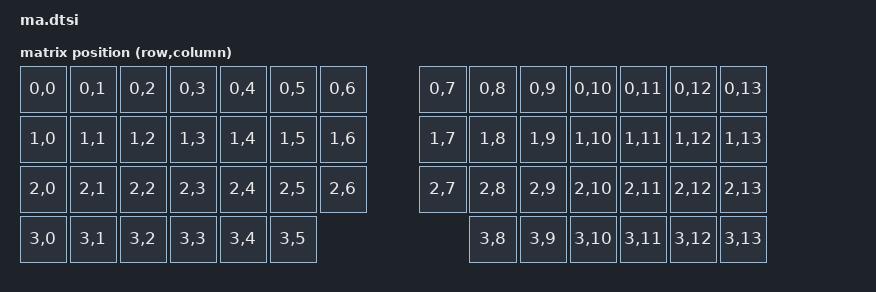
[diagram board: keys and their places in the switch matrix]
#include <dt-bindings/zmk/matrix_transform.h> // Put this with the other includes at the top of your dtsi
#include "ma_right.overlay"
#include "ma_left.overlay"
/ {
    default_transform: keymap_transform0 {
        compatible = "zmk,matrix-transform";
        columns = <14>;
        rows = <4>;
        map = <
        //  LKey 1 |LKey 2 |LKey 3 |LKey 4 |LKey 5 |LKey 6 |LKey 7              RKey 8 |RKey 9 |RKey 10 |RKey 11 |RKey 12 |RKey 13 |RKey 14
            RC(0,0) RC(0,1) RC(0,2) RC(0,3) RC(0,4) RC(0,5) RC(0,6)             RC(0,7) RC(0,8) RC(0,9) RC(0,10) RC(0,11) RC(0,12) RC(0,13)
        //  LKey 15 |LKey 16 |LKey 17 |LKey 18 |LKey 19 |LKey 20 |LKey 21       RKey 22 |RKey 23 |RKey 24 |RKey 25 |RKey 26 |RKey 27 |RKey 28
            RC(1,0) RC(1,1) RC(1,2) RC(1,3) RC(1,4) RC(1,5) RC(1,6)             RC(1,7) RC(1,8) RC(1,9) RC(1,10) RC(1,11) RC(1,12) RC(1,13)
        //  LKey 29 |LKey 30 |LKey 31 |LKey 32 |LKey 33 |LKey 34 |LKey 35       RKey 36 |RKey 37 |RKey 38 |RKey 39 |RKey 40 |RKey 41 |RKey 42
            RC(2,0) RC(2,1) RC(2,2) RC(2,3) RC(2,4) RC(2,5) RC(2,6)             RC(2,7) RC(2,8) RC(2,9) RC(2,10) RC(2,11) RC(2,12) RC(2,13)
        //  LKey 43 |LKey 44 |LKey 45 |LKey 46 |LKey 47 |LKey 48                        |RKey 49 |RKey 50 |RKey 51 |RKey 52 |RKey 53 |RKey 54
            RC(3,0) RC(3,1) RC(3,2) RC(3,3) RC(3,4) RC(3,5)                             RC(3,8) RC(3,9) RC(3,10) RC(3,11) RC(3,12) RC(3,13)
        >;
    };
};
/ {
    physical_layout0: physical_layout_0 { // First physical layout, use different naming for other layouts
        compatible = "zmk,physical-layout";
        display-name = "Default Layout";
        kscan = <&kscan0>; // Label of the kscan node, optional if all layouts use the same
        transform = <&default_transform>; // Label of the matrix transform for this layout
    };
};
/ {
    chosen {
        zmk,kscan = &default_kscan;
        zmk,kscan = &default_transform;
    };
};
